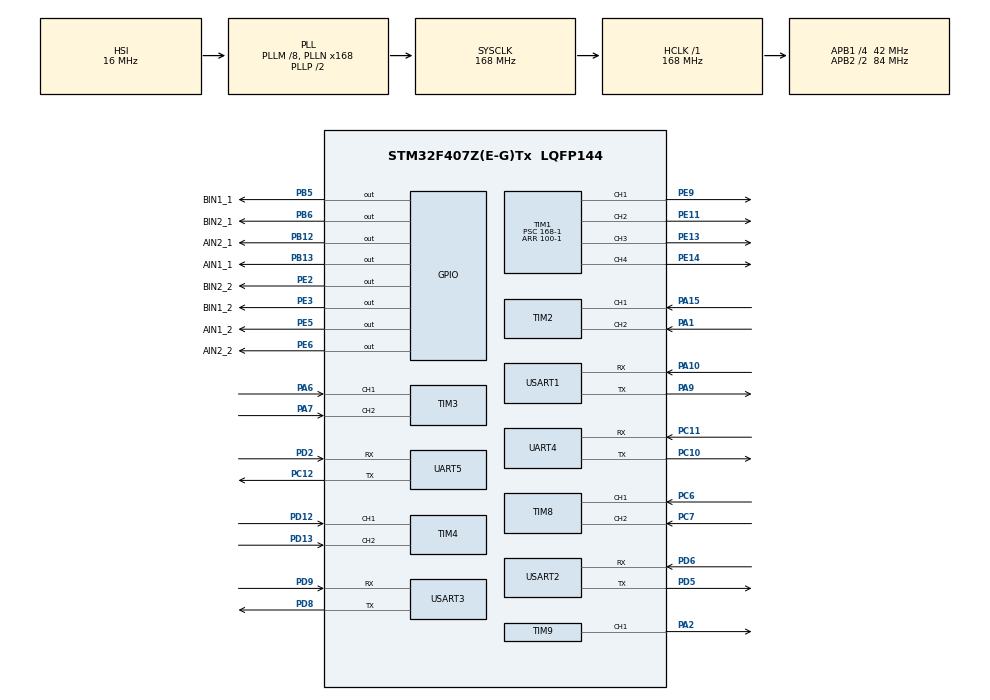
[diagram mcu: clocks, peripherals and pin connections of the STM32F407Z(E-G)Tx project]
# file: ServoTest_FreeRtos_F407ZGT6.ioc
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Dma.Request0=USART1_RX
Dma.Request1=USART1_TX
Dma.Request2=UART5_RX
Dma.Request3=UART5_TX
Dma.Request4=USART3_RX
Dma.Request5=USART3_TX
Dma.Request6=USART2_RX
Dma.Request7=USART2_TX
Dma.Request8=UART4_RX
Dma.Request9=UART4_TX
Dma.UART4_RX.8.Direction=DMA_PERIPH_TO_MEMORY
Dma.UART4_RX.8.FIFOMode=DMA_FIFOMODE_DISABLE
Dma.UART4_RX.8.Instance=DMA1_Stream2
Dma.UART4_RX.8.MemDataAlignment=DMA_MDATAALIGN_BYTE
Dma.UART4_RX.8.MemInc=DMA_MINC_ENABLE
Dma.UART4_RX.8.Mode=DMA_NORMAL
Dma.UART4_RX.8.PeriphDataAlignment=DMA_PDATAALIGN_BYTE
Dma.UART4_RX.8.PeriphInc=DMA_PINC_DISABLE
Dma.UART4_RX.8.Priority=DMA_PRIORITY_LOW
Dma.UART4_TX.9.Direction=DMA_MEMORY_TO_PERIPH
Dma.UART4_TX.9.FIFOMode=DMA_FIFOMODE_DISABLE
Dma.UART4_TX.9.Instance=DMA1_Stream4
Dma.UART4_TX.9.MemDataAlignment=DMA_MDATAALIGN_BYTE
Dma.UART4_TX.9.MemInc=DMA_MINC_ENABLE
Dma.UART4_TX.9.Mode=DMA_NORMAL
Dma.UART4_TX.9.PeriphDataAlignment=DMA_PDATAALIGN_BYTE
Dma.UART4_TX.9.PeriphInc=DMA_PINC_DISABLE
Dma.UART4_TX.9.Priority=DMA_PRIORITY_LOW
Dma.UART5_RX.2.Direction=DMA_PERIPH_TO_MEMORY
Dma.UART5_RX.2.FIFOMode=DMA_FIFOMODE_DISABLE
Dma.UART5_RX.2.Instance=DMA1_Stream0
Dma.UART5_RX.2.MemDataAlignment=DMA_MDATAALIGN_BYTE
Dma.UART5_RX.2.MemInc=DMA_MINC_ENABLE
Dma.UART5_RX.2.Mode=DMA_NORMAL
Dma.UART5_RX.2.PeriphDataAlignment=DMA_PDATAALIGN_BYTE
Dma.UART5_RX.2.PeriphInc=DMA_PINC_DISABLE
Dma.UART5_RX.2.Priority=DMA_PRIORITY_LOW
Dma.UART5_TX.3.Direction=DMA_MEMORY_TO_PERIPH
Dma.UART5_TX.3.FIFOMode=DMA_FIFOMODE_DISABLE
Dma.UART5_TX.3.Instance=DMA1_Stream7
Dma.UART5_TX.3.MemDataAlignment=DMA_MDATAALIGN_BYTE
Dma.UART5_TX.3.MemInc=DMA_MINC_ENABLE
Dma.UART5_TX.3.Mode=DMA_NORMAL
Dma.UART5_TX.3.PeriphDataAlignment=DMA_PDATAALIGN_BYTE
Dma.UART5_TX.3.PeriphInc=DMA_PINC_DISABLE
Dma.UART5_TX.3.Priority=DMA_PRIORITY_LOW
Dma.USART1_RX.0.Direction=DMA_PERIPH_TO_MEMORY
Dma.USART1_RX.0.FIFOMode=DMA_FIFOMODE_DISABLE
Dma.USART1_RX.0.Instance=DMA2_Stream2
Dma.USART1_RX.0.MemDataAlignment=DMA_MDATAALIGN_BYTE
Dma.USART1_RX.0.MemInc=DMA_MINC_ENABLE
Dma.USART1_RX.0.Mode=DMA_NORMAL
Dma.USART1_RX.0.PeriphDataAlignment=DMA_PDATAALIGN_BYTE
Dma.USART1_RX.0.PeriphInc=DMA_PINC_DISABLE
Dma.USART1_RX.0.Priority=DMA_PRIORITY_LOW
Dma.USART1_TX.1.Direction=DMA_MEMORY_TO_PERIPH
Dma.USART1_TX.1.FIFOMode=DMA_FIFOMODE_DISABLE
Dma.USART1_TX.1.Instance=DMA2_Stream7
Dma.USART1_TX.1.MemDataAlignment=DMA_MDATAALIGN_BYTE
Dma.USART1_TX.1.MemInc=DMA_MINC_ENABLE
Dma.USART1_TX.1.Mode=DMA_NORMAL
Dma.USART1_TX.1.PeriphDataAlignment=DMA_PDATAALIGN_BYTE
Dma.USART1_TX.1.PeriphInc=DMA_PINC_DISABLE
Dma.USART1_TX.1.Priority=DMA_PRIORITY_LOW
Dma.USART2_RX.6.Direction=DMA_PERIPH_TO_MEMORY
Dma.USART2_RX.6.FIFOMode=DMA_FIFOMODE_DISABLE
Dma.USART2_RX.6.Instance=DMA1_Stream5
Dma.USART2_RX.6.MemDataAlignment=DMA_MDATAALIGN_BYTE
Dma.USART2_RX.6.MemInc=DMA_MINC_ENABLE
Dma.USART2_RX.6.Mode=DMA_NORMAL
Dma.USART2_RX.6.PeriphDataAlignment=DMA_PDATAALIGN_BYTE
Dma.USART2_RX.6.PeriphInc=DMA_PINC_DISABLE
Dma.USART2_RX.6.Priority=DMA_PRIORITY_LOW
Dma.USART2_TX.7.Direction=DMA_MEMORY_TO_PERIPH
Dma.USART2_TX.7.FIFOMode=DMA_FIFOMODE_DISABLE
Dma.USART2_TX.7.Instance=DMA1_Stream6
Dma.USART2_TX.7.MemDataAlignment=DMA_MDATAALIGN_BYTE
Dma.USART2_TX.7.MemInc=DMA_MINC_ENABLE
Dma.USART2_TX.7.Mode=DMA_NORMAL
Dma.USART2_TX.7.PeriphDataAlignment=DMA_PDATAALIGN_BYTE
Dma.USART2_TX.7.PeriphInc=DMA_PINC_DISABLE
Dma.USART2_TX.7.Priority=DMA_PRIORITY_LOW
Dma.USART3_RX.4.Direction=DMA_PERIPH_TO_MEMORY
Dma.USART3_RX.4.FIFOMode=DMA_FIFOMODE_DISABLE
Dma.USART3_RX.4.Instance=DMA1_Stream1
Dma.USART3_RX.4.MemDataAlignment=DMA_MDATAALIGN_BYTE
Dma.USART3_RX.4.MemInc=DMA_MINC_ENABLE
Dma.USART3_RX.4.Mode=DMA_NORMAL
Dma.USART3_RX.4.PeriphDataAlignment=DMA_PDATAALIGN_BYTE
Dma.USART3_RX.4.PeriphInc=DMA_PINC_DISABLE
Dma.USART3_RX.4.Priority=DMA_PRIORITY_LOW
Dma.USART3_TX.5.Direction=DMA_MEMORY_TO_PERIPH
Dma.USART3_TX.5.FIFOMode=DMA_FIFOMODE_DISABLE
Dma.USART3_TX.5.Instance=DMA1_Stream3
Dma.USART3_TX.5.MemDataAlignment=DMA_MDATAALIGN_BYTE
Dma.USART3_TX.5.MemInc=DMA_MINC_ENABLE
Dma.USART3_TX.5.Mode=DMA_NORMAL
Dma.USART3_TX.5.PeriphDataAlignment=DMA_PDATAALIGN_BYTE
Dma.USART3_TX.5.PeriphInc=DMA_PINC_DISABLE
Dma.USART3_TX.5.Priority=DMA_PRIORITY_LOW
FREERTOS.Tasks01=defaultTask,24,128,StartDefaultTask,Default,NULL,Dynamic,NULL,NULL
Mcu.Family=STM32F4
Mcu.Name=STM32F407Z(E-G)Tx
Mcu.Package=LQFP144
NVIC.DMA1_Stream0_IRQn=true\:5\:0\:false\:false\:true\:true\:false\:true\:true
NVIC.DMA1_Stream1_IRQn=true\:5\:0\:false\:false\:true\:true\:false\:true\:true
NVIC.DMA1_Stream2_IRQn=true\:5\:0\:false\:false\:true\:true\:false\:true\:true
NVIC.DMA1_Stream3_IRQn=true\:5\:0\:false\:false\:true\:true\:false\:true\:true
NVIC.DMA1_Stream4_IRQn=true\:5\:0\:false\:false\:true\:true\:false\:true\:true
NVIC.DMA1_Stream5_IRQn=true\:5\:0\:false\:false\:true\:true\:false\:true\:true
NVIC.DMA1_Stream6_IRQn=true\:5\:0\:false\:false\:true\:true\:false\:true\:true
NVIC.DMA1_Stream7_IRQn=true\:5\:0\:false\:false\:true\:true\:false\:true\:true
NVIC.DMA2_Stream2_IRQn=true\:5\:0\:false\:false\:true\:true\:false\:true\:true
NVIC.DMA2_Stream7_IRQn=true\:5\:0\:false\:false\:true\:true\:false\:true\:true
NVIC.PriorityGroup=NVIC_PRIORITYGROUP_4
NVIC.TIM5_IRQn=true\:5\:0\:false\:false\:true\:true\:true\:true\:true
NVIC.TIM6_DAC_IRQn=true\:15\:0\:false\:false\:true\:false\:false\:true\:true
NVIC.TimeBase=TIM6_DAC_IRQn
NVIC.TimeBaseIP=TIM6
NVIC.UART4_IRQn=true\:5\:0\:false\:false\:true\:true\:true\:true\:true
NVIC.UART5_IRQn=true\:5\:0\:false\:false\:true\:true\:true\:true\:true
NVIC.USART1_IRQn=true\:5\:0\:false\:false\:true\:true\:true\:true\:true
NVIC.USART2_IRQn=true\:5\:0\:false\:false\:true\:true\:true\:true\:true
NVIC.USART3_IRQn=true\:5\:0\:false\:false\:true\:true\:true\:true\:true
PA1.Signal=S_TIM2_CH2
PA10.Mode=Asynchronous
PA10.Signal=USART1_RX
PA13.Mode=Serial_Wire
PA13.Signal=SYS_JTMS-SWDIO
PA14.Mode=Serial_Wire
PA14.Signal=SYS_JTCK-SWCLK
PA15.Signal=S_TIM2_CH1_ETR
PA2.Signal=S_TIM9_CH1
PA6.Signal=S_TIM3_CH1
PA7.Signal=S_TIM3_CH2
PA9.Mode=Asynchronous
PA9.Signal=USART1_TX
PB12.GPIO_Label=AIN2_1
PB12.GPIO_PuPd=GPIO_PULLDOWN
PB12.Signal=GPIO_Output
PB13.GPIO_Label=AIN1_1
PB13.Signal=GPIO_Output
PB5.GPIO_Label=BIN1_1
PB5.GPIO_PuPd=GPIO_PULLDOWN
PB5.Signal=GPIO_Output
PB6.GPIO_Label=BIN2_1
PB6.GPIO_PuPd=GPIO_PULLDOWN
PB6.Signal=GPIO_Output
PC10.Mode=Asynchronous
PC10.Signal=UART4_TX
PC11.Mode=Asynchronous
PC11.Signal=UART4_RX
PC12.Mode=Asynchronous
PC12.Signal=UART5_TX
PC6.Signal=S_TIM8_CH1
PC7.Signal=S_TIM8_CH2
PD12.Signal=S_TIM4_CH1
PD13.Signal=S_TIM4_CH2
PD2.Mode=Asynchronous
PD2.Signal=UART5_RX
PD5.Mode=Asynchronous
PD5.Signal=USART2_TX
PD6.Mode=Asynchronous
PD6.Signal=USART2_RX
PD8.Mode=Asynchronous
PD8.Signal=USART3_TX
PD9.Mode=Asynchronous
PD9.Signal=USART3_RX
PE11.Signal=S_TIM1_CH2
PE13.Signal=S_TIM1_CH3
PE14.Signal=S_TIM1_CH4
PE2.GPIO_Label=BIN2_2
PE2.GPIO_PuPd=GPIO_PULLDOWN
PE2.Signal=GPIO_Output
PE3.GPIO_Label=BIN1_2
PE3.GPIO_PuPd=GPIO_PULLDOWN
PE3.Signal=GPIO_Output
PE5.GPIO_Label=AIN1_2
PE5.GPIO_PuPd=GPIO_PULLDOWN
PE5.Signal=GPIO_Output
PE6.GPIO_Label=AIN2_2
PE6.GPIO_PuPd=GPIO_PULLDOWN
PE6.Signal=GPIO_Output
PE9.Signal=S_TIM1_CH1
PH0-OSC_IN.Mode=HSE-External-Oscillator
PH0-OSC_IN.Signal=RCC_OSC_IN
PH1-OSC_OUT.Mode=HSE-External-Oscillator
PH1-OSC_OUT.Signal=RCC_OSC_OUT
ProjectManager.HeapSize=0x200
ProjectManager.StackSize=0x400
ProjectManager.TargetToolchain=MDK-ARM V5.32
RCC.48MHZClocksFreq_Value=84000000
RCC.AHBFreq_Value=168000000
RCC.APB1CLKDivider=RCC_HCLK_DIV4
RCC.APB1Freq_Value=42000000
RCC.APB1TimFreq_Value=84000000
RCC.APB2CLKDivider=RCC_HCLK_DIV2
RCC.APB2Freq_Value=84000000
RCC.APB2TimFreq_Value=168000000
RCC.CortexFreq_Value=168000000
RCC.HCLKFreq_Value=168000000
RCC.HSE_VALUE=25000000
RCC.HSI_VALUE=16000000
RCC.LSE_VALUE=32768
RCC.PLLM=8
RCC.PLLN=168
RCC.SYSCLKFreq_VALUE=168000000
RCC.SYSCLKSource=RCC_SYSCLKSOURCE_PLLCLK
RCC.VCOOutputFreq_Value=336000000
SH.S_TIM1_CH1.0=TIM1_CH1,PWM Generation1 CH1
SH.S_TIM1_CH2.0=TIM1_CH2,PWM Generation2 CH2
SH.S_TIM1_CH3.0=TIM1_CH3,PWM Generation3 CH3
SH.S_TIM1_CH4.0=TIM1_CH4,PWM Generation4 CH4
SH.S_TIM2_CH1_ETR.0=TIM2_CH1,Encoder_Interface
SH.S_TIM2_CH2.0=TIM2_CH2,Encoder_Interface
SH.S_TIM3_CH1.0=TIM3_CH1,Encoder_Interface
SH.S_TIM3_CH2.0=TIM3_CH2,Encoder_Interface
SH.S_TIM4_CH1.0=TIM4_CH1,Encoder_Interface
SH.S_TIM4_CH2.0=TIM4_CH2,Encoder_Interface
SH.S_TIM8_CH1.0=TIM8_CH1,Encoder_Interface
SH.S_TIM8_CH2.0=TIM8_CH2,Encoder_Interface
SH.S_TIM9_CH1.0=TIM9_CH1,PWM Generation1 CH1
STMicroelectronics.X-CUBE-ALGOBUILD.1.4.0.LibraryCcDSPOoLibraryJjDSPOoLibrary=true
TIM1.Channel-PWM\ Generation1\ CH1=TIM_CHANNEL_1
TIM1.Channel-PWM\ Generation2\ CH2=TIM_CHANNEL_2
TIM1.Channel-PWM\ Generation3\ CH3=TIM_CHANNEL_3
TIM1.Channel-PWM\ Generation4\ CH4=TIM_CHANNEL_4
TIM1.Period=100-1
TIM1.Prescaler=168-1
TIM2.EncoderMode=TIM_ENCODERMODE_TI12
TIM3.EncoderMode=TIM_ENCODERMODE_TI12
TIM4.EncoderMode=TIM_ENCODERMODE_TI12
TIM5.Period=10000-1
TIM5.Prescaler=84-1
TIM8.EncoderMode=TIM_ENCODERMODE_TI12
TIM9.Channel-PWM\ Generation1\ CH1=TIM_CHANNEL_1
TIM9.Period=10000-1
TIM9.Prescaler=840-1
UART4.VirtualMode=Asynchronous
UART5.VirtualMode=Asynchronous
USART1.VirtualMode=VM_ASYNC
USART2.VirtualMode=VM_ASYNC
USART3.VirtualMode=VM_ASYNC
VP_FREERTOS_VS_CMSIS_V2.Mode=CMSIS_V2
VP_STMicroelectronics.X-CUBE-ALGOBUILD_VS_DSPOoLibraryJjLibrary_1.4.0_1.4.0.Mode=DSPOoLibraryJjLibrary
VP_SYS_VS_tim6.Mode=TIM6
VP_TIM5_VS_ClockSourceINT.Mode=Internal
board=custom

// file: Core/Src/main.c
/* USER CODE BEGIN Header */
/**
  ******************************************************************************
  * @file           : main.c
  * @brief          : Main program body
  ******************************************************************************
  * @attention
  *
  * Copyright (c) 2025 STMicroelectronics.
  * All rights reserved.
  *
  * This software is licensed under terms that can be found in the LICENSE file
  * in the root directory of this software component.
  * If no LICENSE file comes with this software, it is provided AS-IS.
  *
  ******************************************************************************
  */
/* USER CODE END Header */
#include "main.h"
#include "cmsis_os.h"
#include "dma.h"
#include "tim.h"
#include "usart.h"
#include "gpio.h"

/* USER CODE BEGIN Includes */
#include "Motor.h"
#include "Motor_Task.h"
#include "Chassis_Task.h"
#include "VOFA.h"
#include "ProjectHeader.h"
/* USER CODE END Includes */

void SystemClock_Config(void);
void MX_FREERTOS_Init(void);

int main(void)
{

  /* MCU Configuration--------------------------------------------------------*/

  /* Reset of all peripherals, Initializes the Flash interface and the Systick. */
  HAL_Init();

  /* Configure the system clock */
  SystemClock_Config();

  /* Initialize all configured peripherals */
  MX_GPIO_Init();
  MX_DMA_Init();
  MX_TIM2_Init();
  MX_USART1_UART_Init();
  MX_TIM5_Init();
  MX_TIM1_Init();
  MX_TIM3_Init();
  MX_TIM4_Init();
  MX_TIM8_Init();
  MX_UART5_Init();
  MX_USART3_UART_Init();
  MX_USART2_UART_Init();
  MX_TIM9_Init();
  MX_UART4_Init();

  /* Init scheduler */
  osKernelInitialize();

  /* Call init function for freertos objects (in cmsis_os2.c) */
  MX_FREERTOS_Init();

  /* Start scheduler */
  osKernelStart();

  /* We should never get here as control is now taken by the scheduler */

  /* Infinite loop */
  while (1)
  {

  }
}

void SystemClock_Config(void)
{
  RCC_OscInitTypeDef RCC_OscInitStruct = {0};
  RCC_ClkInitTypeDef RCC_ClkInitStruct = {0};

  /** Configure the main internal regulator output voltage
  */
  __HAL_RCC_PWR_CLK_ENABLE();
  __HAL_PWR_VOLTAGESCALING_CONFIG(PWR_REGULATOR_VOLTAGE_SCALE1);

  /** Initializes the RCC Oscillators according to the specified parameters
  * in the RCC_OscInitTypeDef structure.
  */
  RCC_OscInitStruct.OscillatorType = RCC_OSCILLATORTYPE_HSI;
  RCC_OscInitStruct.HSIState = RCC_HSI_ON;
  RCC_OscInitStruct.HSICalibrationValue = RCC_HSICALIBRATION_DEFAULT;
  RCC_OscInitStruct.PLL.PLLState = RCC_PLL_ON;
  RCC_OscInitStruct.PLL.PLLSource = RCC_PLLSOURCE_HSI;
  RCC_OscInitStruct.PLL.PLLM = 8;
  RCC_OscInitStruct.PLL.PLLN = 168;
  RCC_OscInitStruct.PLL.PLLP = RCC_PLLP_DIV2;
  RCC_OscInitStruct.PLL.PLLQ = 4;
  if (HAL_RCC_OscConfig(&RCC_OscInitStruct) != HAL_OK)
  {
    Error_Handler();
  }

  /** Initializes the CPU, AHB and APB buses clocks
  */
  RCC_ClkInitStruct.ClockType = RCC_CLOCKTYPE_HCLK|RCC_CLOCKTYPE_SYSCLK
                              |RCC_CLOCKTYPE_PCLK1|RCC_CLOCKTYPE_PCLK2;
  RCC_ClkInitStruct.SYSCLKSource = RCC_SYSCLKSOURCE_PLLCLK;
  RCC_ClkInitStruct.AHBCLKDivider = RCC_SYSCLK_DIV1;
  RCC_ClkInitStruct.APB1CLKDivider = RCC_HCLK_DIV4;
  RCC_ClkInitStruct.APB2CLKDivider = RCC_HCLK_DIV2;

  if (HAL_RCC_ClockConfig(&RCC_ClkInitStruct, FLASH_LATENCY_5) != HAL_OK)
  {
    Error_Handler();
  }
}

void HAL_TIM_PeriodElapsedCallback(TIM_HandleTypeDef *htim)
{
  /* USER CODE BEGIN Callback 0 */
  if (htim->Instance == TIM5)
  {
    TIM5CallBack_Task();

  }
  /* USER CODE END Callback 0 */
  if (htim->Instance == TIM6)
  {
    HAL_IncTick();
  }
}

void Error_Handler(void)
{
  __disable_irq();
  while (1)
  {
  }
}

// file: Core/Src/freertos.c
/* USER CODE BEGIN Header */
/**
  ******************************************************************************
  * File Name          : freertos.c
  * Description        : Code for freertos applications
  ******************************************************************************
  * @attention
  *
  * Copyright (c) 2025 STMicroelectronics.
  * All rights reserved.
  *
  * This software is licensed under terms that can be found in the LICENSE file
  * in the root directory of this software component.
  * If no LICENSE file comes with this software, it is provided AS-IS.
  *
  ******************************************************************************
  */
/* USER CODE END Header */

#include "FreeRTOS.h"
#include "task.h"
#include "main.h"
#include "cmsis_os.h"

/* USER CODE BEGIN Includes */
#include "queue.h" // Include FreeRTOS queue definitions
#include "VOFA.h"
#include "Motor.h"
#include "VOFA_Task.h"
#include "Motor_Task.h"
#include "Chassis_Task.h"
#include "Gyro_Task.h"
#include "VOFAQUeueType.h"
#include "ProjectHeader.h"
/* USER CODE END Includes */

/* USER CODE BEGIN Variables */
TaskHandle_t Init_TaskHandle = NULL;

QueueHandle_t vofaQueue = NULL; // 声明队列句柄
QueueHandle_t gyroYawQueue = NULL; // 声明队列句柄
QueueHandle_t microphoneQueue = NULL; // 声明队列句柄
QueueHandle_t cameraQueue = NULL; // 声明队列句柄

/* USER CODE END Variables */
/* Definitions for defaultTask */
osThreadId_t defaultTaskHandle;
const osThreadAttr_t defaultTask_attributes = {
  .name = "defaultTask",
  .stack_size = 128 * 4,
  .priority = (osPriority_t) osPriorityNormal,
};

/* USER CODE BEGIN FunctionPrototypes */
void Init_Task(void *argument)
{
  HAL_TIM_Base_Start_IT(&htim5);
  VOFA_Init();

  vTaskDelete(NULL);
}
/* USER CODE END FunctionPrototypes */

void StartDefaultTask(void *argument);

void MX_FREERTOS_Init(void); /* (MISRA C 2004 rule 8.1) */

void MX_FREERTOS_Init(void) {

  /* USER CODE BEGIN RTOS_QUEUES */
  /* add queues, ... */
  vofaQueue = xQueueCreate(10, sizeof(VOFAQueueTypeDef));
  gyroYawQueue = xQueueCreate(1, sizeof(float));
  microphoneQueue = xQueueCreate(3, sizeof(MicrophoneTypeDef)); // 创建麦克风队列
  cameraQueue = xQueueCreate(3, sizeof(uint8_t)); // 创建摄像头队列
  /* USER CODE END RTOS_QUEUES */

  /* Create the thread(s) */
  /* creation of defaultTask */
  defaultTaskHandle = osThreadNew(StartDefaultTask, NULL, &defaultTask_attributes);

  /* USER CODE BEGIN RTOS_THREADS */
  /* add threads, ... */
  xTaskCreate(Init_Task, "Init_Task", 128, NULL, osPriorityRealtime, &Init_TaskHandle);
  xTaskCreate(VOFA_RxCallBack_Task, "VOFA_RxCallBack_Task", 256, NULL, osPriorityNormal1, &VOFA_RxCallBack_TaskHandle);
  xTaskCreate(Moto1_Task, "Moto1_Task", 128, NULL, osPriorityHigh, &Motor1_TaskHandle);
  xTaskCreate(Moto2_Task, "Moto2_Task", 128, NULL, osPriorityHigh, &Motor2_TaskHandle);
  xTaskCreate(Moto3_Task, "Moto3_Task", 128, NULL, osPriorityHigh, &Motor3_TaskHandle);
  xTaskCreate(Moto4_Task, "Moto4_Task", 128, NULL, osPriorityHigh, &Motor4_TaskHandle);
  xTaskCreate(Chassis_Task, "Chassis_Task", 512, NULL, osPriorityNormal, &Chassis_TaskHandle);
  xTaskCreate(VOFA_Task, "VOFA_Task", 256, NULL, osPriorityNormal, &VOFA_TaskHandle);
  xTaskCreate(Cmd_Task, "Cmd_Task", 256, NULL, osPriorityNormal, &Cmd_TaskHandle);

  /* USER CODE END RTOS_THREADS */

}

void StartDefaultTask(void *argument)
{
  for(;;)
  {
    osDelay(1);
  }
}
